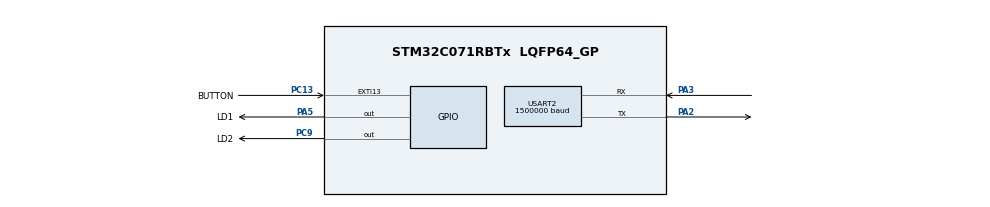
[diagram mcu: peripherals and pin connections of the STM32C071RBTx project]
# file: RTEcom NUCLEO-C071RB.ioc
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Dma.Request0=USART2_TX
Dma.USART2_TX.0.Direction=DMA_MEMORY_TO_PERIPH
Dma.USART2_TX.0.EventEnable=DISABLE
Dma.USART2_TX.0.Instance=DMA1_Channel1
Dma.USART2_TX.0.MemDataAlignment=DMA_MDATAALIGN_BYTE
Dma.USART2_TX.0.MemInc=DMA_MINC_ENABLE
Dma.USART2_TX.0.Mode=DMA_NORMAL
Dma.USART2_TX.0.PeriphDataAlignment=DMA_PDATAALIGN_BYTE
Dma.USART2_TX.0.PeriphInc=DMA_PINC_DISABLE
Dma.USART2_TX.0.Polarity=HAL_DMAMUX_REQ_GEN_RISING
Dma.USART2_TX.0.Priority=DMA_PRIORITY_LOW
Dma.USART2_TX.0.RequestNumber=1
Dma.USART2_TX.0.SignalID=NONE
Dma.USART2_TX.0.SyncEnable=DISABLE
Dma.USART2_TX.0.SyncPolarity=HAL_DMAMUX_SYNC_NO_EVENT
Dma.USART2_TX.0.SyncRequestNumber=1
Dma.USART2_TX.0.SyncSignalID=NONE
IWDG.Prescaler=IWDG_PRESCALER_64
Mcu.Family=STM32C0
Mcu.Name=STM32C071RBTx
Mcu.Package=LQFP64_GP
NVIC.DMA1_Channel1_IRQn=true\:0\:0\:false\:false\:false\:false\:false\:false
NVIC.EXTI4_15_IRQn=true\:0\:0\:false\:false\:true\:true\:true\:true
NVIC.TIM17_IRQn=true\:3\:0\:false\:false\:true\:false\:true\:true
NVIC.TimeBase=TIM17_IRQn
NVIC.TimeBaseIP=TIM17
NVIC.USART2_IRQn=true\:0\:0\:false\:false\:true\:false\:true\:true
PA13.Mode=Serial_Wire
PA13.Signal=DEBUG_SWDIO
PA14-BOOT0.Mode=Serial_Wire
PA14-BOOT0.Signal=DEBUG_SWCLK
PA2.Mode=Asynchronous
PA2.Signal=USART2_TX
PA3.Mode=Asynchronous
PA3.Signal=USART2_RX
PA5.GPIO_Label=LD1
PA5.GPIO_ModeDefaultOutputPP=GPIO_MODE_OUTPUT_PP
PA5.GPIO_PuPd=GPIO_NOPULL
PA5.Signal=GPIO_Output
PC13.GPIO_Label=BUTTON
PC13.GPIO_PuPd=GPIO_PULLUP
PC13.Signal=GPXTI13
PC9.GPIO_Label=LD2
PC9.GPIO_ModeDefaultOutputPP=GPIO_MODE_OUTPUT_PP
PC9.GPIO_PuPd=GPIO_NOPULL
PC9.Signal=GPIO_Output
ProjectManager.HeapSize=0x100
ProjectManager.StackSize=0x400
ProjectManager.TargetToolchain=STM32CubeIDE
RCC.ADCFreq_Value=48000000
RCC.AHBFreq_Value=48000000
RCC.CortexFreq_Value=48000000
RCC.EXTERNAL_CLOCK_VALUE=12288000
RCC.HCLKFreq_Value=48000000
RCC.HSE_VALUE=8000000
RCC.HSI48_VALUE=48000000
RCC.HSISYSCLKDivider=RCC_HSI_DIV1
RCC.HSI_VALUE=48000000
RCC.LSE_VALUE=32768
RCC.SYSCLKFreq_VALUE=48000000
USART2.BaudRate=1500000
USART2.VirtualMode-Asynchronous=VM_ASYNC
VP_IWDG_VS_IWDG.Mode=IWDG_Activate
VP_SYS_VS_tim17.Mode=TIM17
board=custom

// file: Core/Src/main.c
/* USER CODE BEGIN Header */
/**
  ******************************************************************************
  * @file           : main.c
  * @brief          : Main program body
  ******************************************************************************
  * @attention
  *
  * Copyright (c) 2024 STMicroelectronics.
  * All rights reserved.
  *
  * This software is licensed under terms that can be found in the LICENSE file
  * in the root directory of this software component.
  * If no LICENSE file comes with this software, it is provided AS-IS.
  *
  ******************************************************************************
  */
/* USER CODE END Header */
#include <cortex_M0_fault_fmt.h>
#include "main.h"

/* USER CODE BEGIN Includes */
#include "rtedbg.h"
#include "rte_com_demo_fmt.h"
#include "rte_com.h"
/* USER CODE END Includes */

/* USER CODE BEGIN PV */
#if defined RTECOM_TIMEOUT
uint32_t uwTick_last_byte_received;  // Time of last message received from host.
#endif
/* USER CODE END PV */

void SystemClock_Config(void);
static void MX_GPIO_Init(void);
static void MX_DMA_Init(void);
static void MX_USART2_UART_Init(void);
static void MX_IWDG_Init(void);

int main(void)
{

  /* MCU Configuration--------------------------------------------------------*/

  /* Reset of all peripherals, Initializes the Flash interface and the Systick. */
  HAL_Init();

  /* Configure the system clock */
  SystemClock_Config();

  /* Initialize all configured peripherals */
  MX_GPIO_Init();
  MX_DMA_Init();
  MX_USART2_UART_Init();
  MX_IWDG_Init();
  /* USER CODE BEGIN 2 */
#if RTE_SINGLE_SHOT_ENABLED != 0
    rte_init(RTE_FORCE_ENABLE_ALL_FILTERS, RTE_SINGLE_SHOT_LOGGING);
#else
    rte_init(RTE_FORCE_ENABLE_ALL_FILTERS, RTE_CONTINUE_LOGGING);
#endif

    // Log the reset cause info
    RTE_MSG1(MSG1_RESET_CAUSE, F_SYSTEM, RCC->CSR2); // Log reset flags
    LL_RCC_ClearResetFlags();                        // Remove reset flags

#if 1
    void simple_demo(void);
    simple_demo();
#endif

  /* USER CODE END 2 */

  /* Infinite loop */
  /* USER CODE BEGIN WHILE */
  while (1)
  {
      // Toggle the LD1 LED
	  if (uwTick & 0x100U)
	  {
		  LD1_GPIO_Port->BSRR = LD1_Pin;
	  }
	  else
	  {
		  LD1_GPIO_Port->BRR = LD1_Pin;
	  }

	  if (((uwTick & 0x3FU) == 0U)      // Every 64 ms
	      && (uwTick < 10000U))         // Until the time > 10 seconds
	  {
		  LL_IWDG_ReloadCounter(IWDG);  // Reload the Watch-Dog counter and log the event
		  RTE_MSG0(MSG0_IWDG_RELOAD, F_COM_DEMO);
	  }

	  //***** RTEcom - Example of timeout for the data reception from host *******
	  // Check if an incomplete received message is in the g_rtecom structure.
	  // Erase it if yes to enable a clean start of new message reception.
#if RTE_ENABLED == 1
#if defined RTECOM_TIMEOUT
	  if (((uwTick - uwTick_last_byte_received) > RTECOM_TIMEOUT)
	       && (g_rtecom.no_received  != 0))
	  {
	      g_rtecom.no_received = 0;     // Restart the command reception from host
	  }
#endif
#endif
	  //**************************************************************************
      HAL_Delay(1);

    /* USER CODE END WHILE */

  }
}

void SystemClock_Config(void)
{

  LL_FLASH_SetLatency(LL_FLASH_LATENCY_1);

  /* HSI configuration and activation */
  LL_RCC_HSI_Enable();
  while(LL_RCC_HSI_IsReady() != 1)
  {
  }

  LL_RCC_HSI_SetCalibTrimming(64);
  LL_RCC_SetHSIDiv(LL_RCC_HSI_DIV_1);
  /* LSI configuration and activation */
  LL_RCC_LSI_Enable();
  while(LL_RCC_LSI_IsReady() != 1)
  {
  }

  /* Set AHB prescaler*/
  LL_RCC_SetAHBPrescaler(LL_RCC_HCLK_DIV_1);

  /* Sysclk activation on the HSI */
  LL_RCC_SetSysClkSource(LL_RCC_SYS_CLKSOURCE_HSI);
  while(LL_RCC_GetSysClkSource() != LL_RCC_SYS_CLKSOURCE_STATUS_HSI)
  {
  }

  /* Set APB1 prescaler*/
  LL_RCC_SetAPB1Prescaler(LL_RCC_APB1_DIV_1);
  /* Update CMSIS variable (which can be updated also through SystemCoreClockUpdate function) */
  LL_SetSystemCoreClock(48000000);

   /* Update the time base */
  if (HAL_InitTick (TICK_INT_PRIORITY) != HAL_OK)
  {
    Error_Handler();
  }
}

static void MX_IWDG_Init(void)
{

  LL_IWDG_Enable(IWDG);
  LL_IWDG_EnableWriteAccess(IWDG);
  LL_IWDG_SetPrescaler(IWDG, LL_IWDG_PRESCALER_64);
  LL_IWDG_SetReloadCounter(IWDG, 4095);
  while (LL_IWDG_IsReady(IWDG) != 1)
  {
  }

  LL_IWDG_ReloadCounter(IWDG);

}

static void MX_USART2_UART_Init(void)
{

  LL_USART_InitTypeDef USART_InitStruct = {0};

  LL_GPIO_InitTypeDef GPIO_InitStruct = {0};

  /* Peripheral clock enable */
  LL_APB1_GRP1_EnableClock(LL_APB1_GRP1_PERIPH_USART2);

  LL_IOP_GRP1_EnableClock(LL_IOP_GRP1_PERIPH_GPIOA);
  /**USART2 GPIO Configuration
  PA2   ------> USART2_TX
  PA3   ------> USART2_RX
  */
  GPIO_InitStruct.Pin = LL_GPIO_PIN_2;
  GPIO_InitStruct.Mode = LL_GPIO_MODE_ALTERNATE;
  GPIO_InitStruct.Speed = LL_GPIO_SPEED_FREQ_LOW;
  GPIO_InitStruct.OutputType = LL_GPIO_OUTPUT_PUSHPULL;
  GPIO_InitStruct.Pull = LL_GPIO_PULL_NO;
  GPIO_InitStruct.Alternate = LL_GPIO_AF_1;
  LL_GPIO_Init(GPIOA, &GPIO_InitStruct);

  GPIO_InitStruct.Pin = LL_GPIO_PIN_3;
  GPIO_InitStruct.Mode = LL_GPIO_MODE_ALTERNATE;
  GPIO_InitStruct.Speed = LL_GPIO_SPEED_FREQ_LOW;
  GPIO_InitStruct.OutputType = LL_GPIO_OUTPUT_PUSHPULL;
  GPIO_InitStruct.Pull = LL_GPIO_PULL_NO;
  GPIO_InitStruct.Alternate = LL_GPIO_AF_1;
  LL_GPIO_Init(GPIOA, &GPIO_InitStruct);

  /* USART2 DMA Init */

  /* USART2_TX Init */
  LL_DMA_SetPeriphRequest(DMA1, LL_DMA_CHANNEL_1, LL_DMAMUX_REQ_USART2_TX);

  LL_DMA_SetDataTransferDirection(DMA1, LL_DMA_CHANNEL_1, LL_DMA_DIRECTION_MEMORY_TO_PERIPH);

  LL_DMA_SetChannelPriorityLevel(DMA1, LL_DMA_CHANNEL_1, LL_DMA_PRIORITY_LOW);

  LL_DMA_SetMode(DMA1, LL_DMA_CHANNEL_1, LL_DMA_MODE_NORMAL);

  LL_DMA_SetPeriphIncMode(DMA1, LL_DMA_CHANNEL_1, LL_DMA_PERIPH_NOINCREMENT);

  LL_DMA_SetMemoryIncMode(DMA1, LL_DMA_CHANNEL_1, LL_DMA_MEMORY_INCREMENT);

  LL_DMA_SetPeriphSize(DMA1, LL_DMA_CHANNEL_1, LL_DMA_PDATAALIGN_BYTE);

  LL_DMA_SetMemorySize(DMA1, LL_DMA_CHANNEL_1, LL_DMA_MDATAALIGN_BYTE);

  /* USART2 interrupt Init */
  NVIC_SetPriority(USART2_IRQn, 0);
  NVIC_EnableIRQ(USART2_IRQn);

  USART_InitStruct.PrescalerValue = LL_USART_PRESCALER_DIV1;
  USART_InitStruct.BaudRate = 1500000;
  USART_InitStruct.DataWidth = LL_USART_DATAWIDTH_8B;
  USART_InitStruct.StopBits = LL_USART_STOPBITS_1;
  USART_InitStruct.Parity = LL_USART_PARITY_NONE;
  USART_InitStruct.TransferDirection = LL_USART_DIRECTION_TX_RX;
  USART_InitStruct.HardwareFlowControl = LL_USART_HWCONTROL_NONE;
  USART_InitStruct.OverSampling = LL_USART_OVERSAMPLING_16;
  LL_USART_Init(USART2, &USART_InitStruct);
  LL_USART_SetTXFIFOThreshold(USART2, LL_USART_FIFOTHRESHOLD_1_8);
  LL_USART_SetRXFIFOThreshold(USART2, LL_USART_FIFOTHRESHOLD_1_8);
  LL_USART_DisableFIFO(USART2);
  LL_USART_ConfigAsyncMode(USART2);

  /* USER CODE BEGIN WKUPType USART2 */

#if RTECOM_SINGLE_WIRE
  /* Reconfigure the USART from two-wire (duplex) to single-wire (half-duplex)
   * communication to allow easy switching between the two communication modes
   * with conditional compilation for code testing.
   */

  // The I/O must be configured so that TX is configured as alternate function
  // open-drain with an external pull-up.
  // USART2 GPIO Configuration: PA2   ------> USART2_TX and RX
  GPIO_InitStruct.Pin = LL_GPIO_PIN_2;
  GPIO_InitStruct.Mode = LL_GPIO_MODE_ALTERNATE;
  GPIO_InitStruct.Speed = LL_GPIO_SPEED_FREQ_LOW;
  GPIO_InitStruct.OutputType = LL_GPIO_OUTPUT_OPENDRAIN;
  GPIO_InitStruct.Pull = LL_GPIO_PULL_NO;
  GPIO_InitStruct.Alternate = LL_GPIO_AF_1;
  LL_GPIO_Init(GPIOA, &GPIO_InitStruct);

  // The single-wire mode is enabled with a control bit HDSEL in USART_CR3
  LL_USART_EnableHalfDuplex(STM32_USART);
#endif

  /* USER CODE END WKUPType USART2 */

  LL_USART_Enable(USART2);

  /* Polling USART2 initialisation */
  while((!(LL_USART_IsActiveFlag_TEACK(USART2))) || (!(LL_USART_IsActiveFlag_REACK(USART2))))
  {
  }
  /* USER CODE BEGIN USART2_Init 2 */

  // Enable the RXNE interrupt
  LL_USART_EnableIT_RXNE(USART2);

  /* USER CODE END USART2_Init 2 */

}

static void MX_DMA_Init(void)
{

  /* Init with LL driver */
  /* DMA controller clock enable */
  LL_AHB1_GRP1_EnableClock(LL_AHB1_GRP1_PERIPH_DMA1);

  /* DMA interrupt init */
  /* DMA1_Channel1_IRQn interrupt configuration */
  NVIC_SetPriority(DMA1_Channel1_IRQn, 0);
  NVIC_EnableIRQ(DMA1_Channel1_IRQn);

}

static void MX_GPIO_Init(void)
{
  LL_EXTI_InitTypeDef EXTI_InitStruct = {0};
  LL_GPIO_InitTypeDef GPIO_InitStruct = {0};

  /* GPIO Ports Clock Enable */
  LL_IOP_GRP1_EnableClock(LL_IOP_GRP1_PERIPH_GPIOC);
  LL_IOP_GRP1_EnableClock(LL_IOP_GRP1_PERIPH_GPIOA);

  /**/
  LL_GPIO_ResetOutputPin(LD1_GPIO_Port, LD1_Pin);

  /**/
  LL_GPIO_ResetOutputPin(LD2_GPIO_Port, LD2_Pin);

  /**/
  EXTI_InitStruct.Line_0_31 = LL_EXTI_LINE_13;
  EXTI_InitStruct.LineCommand = ENABLE;
  EXTI_InitStruct.Mode = LL_EXTI_MODE_IT;
  EXTI_InitStruct.Trigger = LL_EXTI_TRIGGER_RISING;
  LL_EXTI_Init(&EXTI_InitStruct);

  /**/
  LL_GPIO_SetPinMode(BUTTON_GPIO_Port, BUTTON_Pin, LL_GPIO_MODE_INPUT);

  /**/
  LL_GPIO_SetPinPull(BUTTON_GPIO_Port, BUTTON_Pin, LL_GPIO_PULL_UP);

  /**/
  LL_EXTI_SetEXTISource(LL_EXTI_CONFIG_PORTC, LL_EXTI_CONFIG_LINE13);

  /**/
  GPIO_InitStruct.Pin = LD1_Pin;
  GPIO_InitStruct.Mode = LL_GPIO_MODE_OUTPUT;
  GPIO_InitStruct.Speed = LL_GPIO_SPEED_FREQ_LOW;
  GPIO_InitStruct.OutputType = LL_GPIO_OUTPUT_PUSHPULL;
  GPIO_InitStruct.Pull = LL_GPIO_PULL_NO;
  LL_GPIO_Init(LD1_GPIO_Port, &GPIO_InitStruct);

  /**/
  GPIO_InitStruct.Pin = LD2_Pin;
  GPIO_InitStruct.Mode = LL_GPIO_MODE_OUTPUT;
  GPIO_InitStruct.Speed = LL_GPIO_SPEED_FREQ_LOW;
  GPIO_InitStruct.OutputType = LL_GPIO_OUTPUT_PUSHPULL;
  GPIO_InitStruct.Pull = LL_GPIO_PULL_NO;
  LL_GPIO_Init(LD2_GPIO_Port, &GPIO_InitStruct);

  /* EXTI interrupt init*/
  NVIC_SetPriority(EXTI4_15_IRQn, 0);
  NVIC_EnableIRQ(EXTI4_15_IRQn);

}

/* USER CODE BEGIN 4 */

/**
 * @brief Logs data for the exception handler in the startup assembly file.
 *
 * @param sp        Stack pointer address (address of data to be logged)
 * @param icsr_reg  Value of the ICSR (Interrupt control and state register)
 *
 * For more details, refer to the 'Exception_handler_Cortex-M0.md'
 * document in the main repository folder.
 */

void __NO_RETURN __attribute__((naked)) log_exception(uint32_t icsr_reg, const uint32_t *sp)
{
    UNUSED(icsr_reg); // Mark parameter as unused to suppress compiler warnings
    /* The 'icsr_reg' value may be used to check which exception vector is active.
     * Based on this, for example, logging can include either fewer details than
     * in this case or even additional ones.
     */

    // Log the exception details using the RTE_MSGN macro
    RTE_MSGN(MSGN_FATAL_EXCEPTION, F_SYSTEM, sp, 4U * (18U + 12U));
    /* Legend:
     *      MSGN_FATAL_EXCEPTION - Format code name
     *      F_SYSTEM - Message filter number
     *      sp - Address of the stack where the pushed registers are stored
     *      4 * (18 + 12) - Size of the CPU register data to be logged
     *          18 - Number of CPU registers pushed to the stack
     *          12 - Log 12 words of stack data additionally (stack dump example).
     *          4U - Size of each register (32-bit)
     */

    /* Add custom code here to handle the exception.
     * For example:
     * - Set peripherals to an inactive state
     * - Perform a software reset to restart the system
     */

    // Infinite loop to prevent the function from returning
    for (;;)
        ;
}
/* USER CODE END 4 */

void HAL_TIM_PeriodElapsedCallback(TIM_HandleTypeDef *htim)
{
  if (htim->Instance == TIM17) {
    HAL_IncTick();
  }
}

void Error_Handler(void)
{
  __disable_irq();
  while (1)
  {
  }
}
